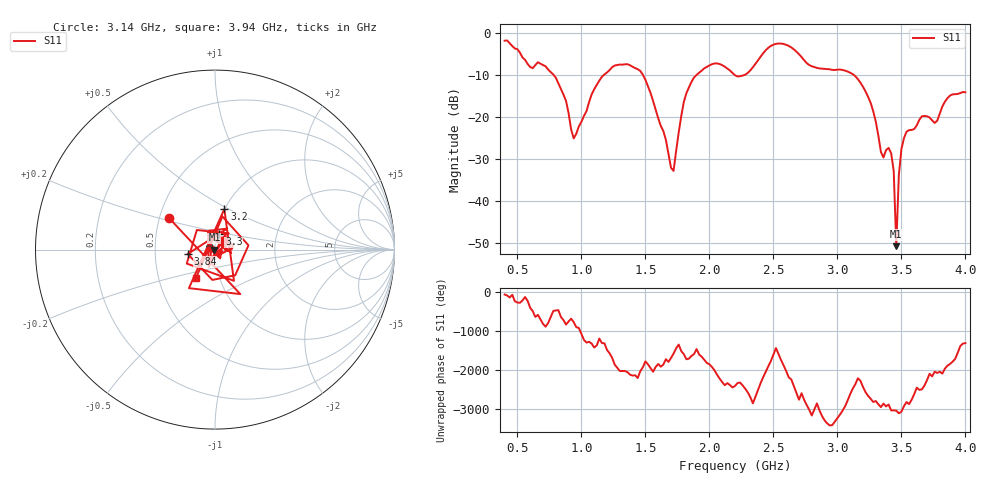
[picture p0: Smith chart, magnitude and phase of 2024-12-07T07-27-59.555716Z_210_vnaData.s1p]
!Created with skrf (http://scikit-rf.org).
# Hz S RI R 50.0
!freq ReS11 ImS11
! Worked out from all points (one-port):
!   181 points, 400 MHz to 4 GHz, reference 50 ohm
!   lowest |S11| = -50.7 dB at 3.46 GHz (marker M1), VSWR 1.01, Z = 49.7 - j0.0342 ohm
!   |S11| at or under -10 dB: 786.1 MHz to 1.172 GHz (385.8 MHz wide, 39.4 % of centre); 1.483 GHz to 1.896 GHz (413.1 MHz wide, 24.4 % of centre); 3.133 GHz to end of sweep (the widest 3 of 4)
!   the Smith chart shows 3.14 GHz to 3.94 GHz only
!   S11 on the Smith chart (normalised r, x): 3.14 GHz: 0.56, +0.22; 3.2 GHz: 1.00, +0.48; 3.3 GHz: 1.03, +0.18; 3.84 GHz: 0.74, -0.04; 3.94 GHz: 0.77, -0.25
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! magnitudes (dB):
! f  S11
! 400 MHz  -1.7
! 860 MHz  -14.6
! 940 MHz  -25.0
! 1.14 GHz  -11.2
! 1.3 GHz  -7.4
! 1.48 GHz  -9.8
! 1.72 GHz  -32.7
! 1.76 GHz  -23.6
! 1.88 GHz  -10.5
! 2.04 GHz  -7.2
! 2.2 GHz  -10.0
! 2.5 GHz  -2.7
! 2.66 GHz  -3.8
! 3.1 GHz  -9.4
! 3.14 GHz  -10.2
! 3.2 GHz  -12.7
! 3.3 GHz  -21.0
! 3.36 GHz  -29.6
! 3.42 GHz  -28.5
! 3.44 GHz  -32.7
! 3.46 GHz  -50.7
! 3.48 GHz  -33.8
! 3.5 GHz  -27.6
! 3.56 GHz  -23.0
! 3.76 GHz  -21.3
! 3.84 GHz  -16.3
! 3.94 GHz  -14.4
! 4 GHz  -14.0
